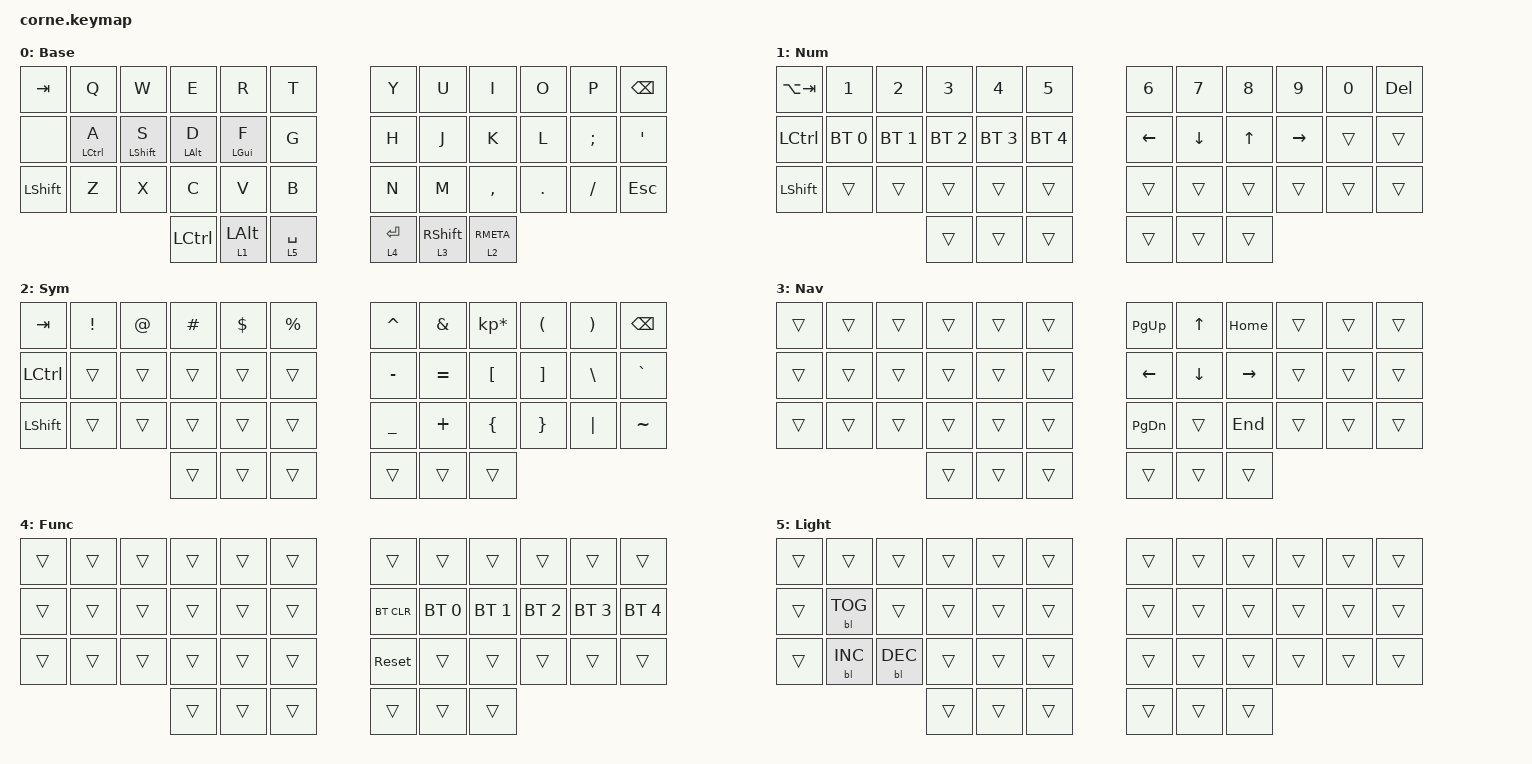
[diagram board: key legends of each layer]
/*
 * Copyright (c) 2020 The ZMK Contributors
 *
 * SPDX-License-Identifier: MIT
 */

#include <behaviors.dtsi>
#include <dt-bindings/zmk/backlight.h>
#include <dt-bindings/zmk/bt.h>
#include <dt-bindings/zmk/keys.h>
#include <dt-bindings/zmk/rgb.h>

/ {
    combos { compatible = "zmk,combos"; };

    keymap {
        compatible = "zmk,keymap";

        Base {
            display-name = "Base";

            // -----------------------------------------------------------------------------------------
            // |  TAB |  Q  |  W  |  E  |  R  |  T  |   |  Y  |  U   |  I  |  O  |  P  | BKSP |
            // | CTRL |  A  |  S  |  D  |  F  |  G  |   |  H  |  J   |  K  |  L  |  ;  |  '   |
            // | SHFT |  Z  |  X  |  C  |  V  |  B  |   |  N  |  M   |  ,  |  .  |  /  | ESC  |
            //                    | GUI | LWR | SPC |   | ENT | RSE  | ALT |

            bindings = <
            &kp TAB    &kp Q        &kp W             &kp E           &kp R           &kp T          &kp Y        &kp U              &kp I        &kp O    &kp P     &kp BSPC
            &none      &mt LCTRL A  &mt LEFT_SHIFT S  &mt LEFT_ALT D  &mt LEFT_GUI F  &kp G          &kp H        &kp J              &kp K        &kp L    &kp SEMI  &kp SQT
            &kp LSHFT  &kp Z        &kp X             &kp C           &kp V           &kp B          &kp N        &kp M              &kp COMMA    &kp DOT  &kp FSLH  &kp ESC
                                                      &kp LCTRL       &lt 1 LEFT_ALT  &lt 5 SPACE    &lt 4 ENTER  &lt 3 RIGHT_SHIFT  &lt 2 RMETA
            >;
        };

        Num {
            display-name = "Num";

            // -----------------------------------------------------------------------------------------
            // |  TAB |  1  |  2  |  3  |  4  |  5  |   |  6  |  7  |  8  |  9  |  0  | BKSP |
            // | BTCLR| BT1 | BT2 | BT3 | BT4 | BT5 |   | LFT | DWN |  UP | RGT |     |      |
            // | SHFT |     |     |     |     |     |   |     |     |     |     |     |      |
            //                    | GUI |     | SPC |   | ENT |     | ALT |

            bindings = <
            &kp LA(TAB)  &kp N1        &kp N2        &kp N3        &kp N4        &kp N5          &kp N6    &kp N7    &kp N8  &kp N9     &kp N0  &kp DEL
            &kp LCTRL    &bt BT_SEL 0  &bt BT_SEL 1  &bt BT_SEL 2  &bt BT_SEL 3  &bt BT_SEL 4    &kp LEFT  &kp DOWN  &kp UP  &kp RIGHT  &trans  &trans
            &kp LSHFT    &trans        &trans        &trans        &trans        &trans          &trans    &trans    &trans  &trans     &trans  &trans
                                                     &trans        &trans        &trans          &trans    &trans    &trans
            >;
        };

        Sym {
            display-name = "Sym";

            // -----------------------------------------------------------------------------------------
            // |  TAB |  !  |  @  |  #  |  $  |  %  |   |  ^  |  &  |  *  |  (  |  )  | BKSP |
            // | CTRL |     |     |     |     |     |   |  -  |  =  |  [  |  ]  |  \  |  `   |
            // | SHFT |     |     |     |     |     |   |  _  |  +  |  {  |  }  | "|" |  ~   |
            //                    | GUI |     | SPC |   | ENT |     | ALT |

            bindings = <
            &kp TAB    &kp EXCL  &kp AT  &kp HASH  &kp DLLR  &kp PRCNT    &kp CARET  &kp AMPS   &kp KP_MULTIPLY  &kp LPAR  &kp RPAR  &kp BSPC
            &kp LCTRL  &trans    &trans  &trans    &trans    &trans       &kp MINUS  &kp EQUAL  &kp LBKT         &kp RBKT  &kp BSLH  &kp GRAVE
            &kp LSHFT  &trans    &trans  &trans    &trans    &trans       &kp UNDER  &kp PLUS   &kp LBRC         &kp RBRC  &kp PIPE  &kp TILDE
                                         &trans    &trans    &trans       &trans     &trans     &trans
            >;
        };

        Nav {
            display-name = "Nav";
            bindings = <
            &trans  &trans  &trans  &trans  &trans  &trans    &kp PAGE_UP    &kp UP_ARROW  &kp HOME   &trans  &trans  &trans
            &trans  &trans  &trans  &trans  &trans  &trans    &kp LEFT       &kp DOWN      &kp RIGHT  &trans  &trans  &trans
            &trans  &trans  &trans  &trans  &trans  &trans    &kp PAGE_DOWN  &trans        &kp END    &trans  &trans  &trans
                                    &trans  &trans  &trans    &trans         &trans        &trans
            >;
        };

        Func {
            display-name = "Func";
            bindings = <
            &trans  &trans  &trans  &trans  &trans  &trans    &trans      &trans        &trans        &trans        &trans        &trans
            &trans  &trans  &trans  &trans  &trans  &trans    &bt BT_CLR  &bt BT_SEL 0  &bt BT_SEL 1  &bt BT_SEL 2  &bt BT_SEL 3  &bt BT_SEL 4
            &trans  &trans  &trans  &trans  &trans  &trans    &sys_reset  &trans        &trans        &trans        &trans        &trans
                                    &trans  &trans  &trans    &trans      &trans        &trans
            >;
        };

        Light {
            display-name = "Light";
            bindings = <
            &trans  &trans      &trans           &trans  &trans  &trans    &trans  &trans  &trans  &trans  &trans  &trans
            &trans  &bl BL_TOG  &trans           &trans  &trans  &trans    &trans  &trans  &trans  &trans  &trans  &trans
            &trans  &bl BL_INC  &bl BL_DEC       &trans  &trans  &trans    &trans  &trans  &trans  &trans  &trans  &trans
                                                 &trans  &trans  &trans    &trans  &trans  &trans
            >;
        };
    };
};
/* BS Corne bodge */
&nice_view_spi {
    cs-gpios = <&pro_micro 16 GPIO_ACTIVE_HIGH>;
};
